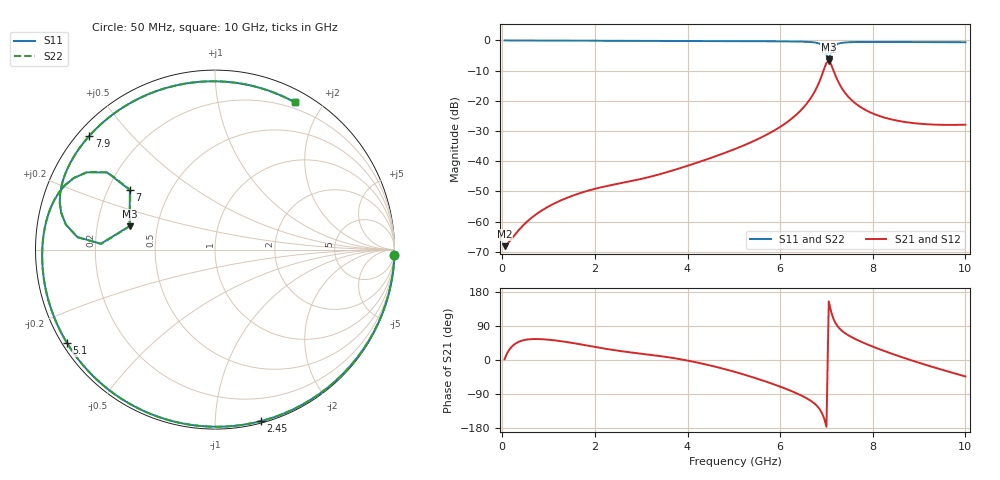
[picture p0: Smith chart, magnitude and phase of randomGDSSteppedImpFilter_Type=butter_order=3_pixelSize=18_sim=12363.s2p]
! freq	dB(S11)	phase(S11)	dB(S12)	phase(S12)
!  dB(S21)	phase(S21)	dB(S22)	phase(S22)
!S-par simulation data
#  GHz  S  DB  R 50
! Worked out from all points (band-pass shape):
!   200 points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, 50 MHz to 10 GHz, reference 50 ohm
!   highest |S21| = -6.79 dB at 7.05 GHz (marker M1); lowest = -68.2 dB at 50 MHz (marker M2)
!   |S21| within 3 dB of the highest: 6.941 GHz to 7.147 GHz (206.1 MHz wide, 2.93 % of centre)
!   lowest |S11| = -6.1 dB at 7.05 GHz (marker M3), VSWR 2.95, Z = 17.2 + j5.95 ohm
!   |S11| at or under -10 dB: nowhere
!   |S22| runs from -6.2 to 0.0 dB; largest |S21 - S12| = 0
!   S11 on the Smith chart (normalised r, x): 50 MHz: 0, -72; 2.45 GHz: 0.01, -1.30; 5.1 GHz: 0.01, -0.29; 7 GHz: 0.29, +0.29; 7.9 GHz: 0.03, +0.38; 10 GHz: 0.13, +1.67
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0.05  -0.00 -1.6  -68.16 2.2  -68.16 2.2  -0.00 -1.6
0.75  -0.03 -23.8  -57.39 55.3  -57.39 55.3  -0.03 -23.8
1.75  -0.07 -54.4  -50.23 40.0  -50.23 40.0  -0.07 -54.4
2.45  -0.09 -75.0  -47.62 25.4  -47.62 25.4  -0.09 -75.0
3.4  -0.13 -101.7  -44.32 10.6  -44.32 10.6  -0.13 -101.7
4.2  -0.17 -123.4  -40.52 -6.4  -40.52 -6.4  -0.17 -123.5
5.05  -0.22 -146.3  -35.81 -32.4  -35.81 -32.4  -0.22 -146.3
5.1  -0.22 -147.6  -35.50 -34.1  -35.50 -34.1  -0.22 -147.7
6.1  -0.31 -175.9  -27.62 -75.0  -27.62 -75.0  -0.31 -175.9
6.45  -0.39 172.7  -23.10 -93.2  -23.10 -93.2  -0.39 172.7
6.7  -0.58 162.5  -18.14 -111.0  -18.14 -111.0  -0.58 162.4
6.9  -1.58 148.9  -11.57 -139.2  -11.57 -139.2  -1.59 148.8
7  -4.75 145.0  -7.43 -176.3  -7.43 -176.3  -4.77 144.9
7.05  -6.13 164.6  -6.79 154.6  -6.79 154.6  -6.16 164.6
7.1  -3.93 177.0  -7.95 127.7  -7.95 127.7  -3.94 177.1
7.15  -2.27 174.8  -9.91 108.9  -9.91 108.9  -2.28 174.9
7.25  -1.10 166.5  -13.54 87.6  -13.54 87.6  -1.10 166.5
7.5  -0.58 153.1  -19.12 63.2  -19.12 63.2  -0.58 153.1
7.9  -0.50 137.9  -23.50 40.2  -23.50 40.2  -0.50 137.9
8.35  -0.51 122.1  -25.97 19.3  -25.97 19.3  -0.51 122.1
9.2  -0.56 91.6  -27.79 -14.9  -27.79 -14.9  -0.56 91.6
10  -0.60 61.6  -27.91 -43.4  -27.91 -43.4  -0.60 61.5
